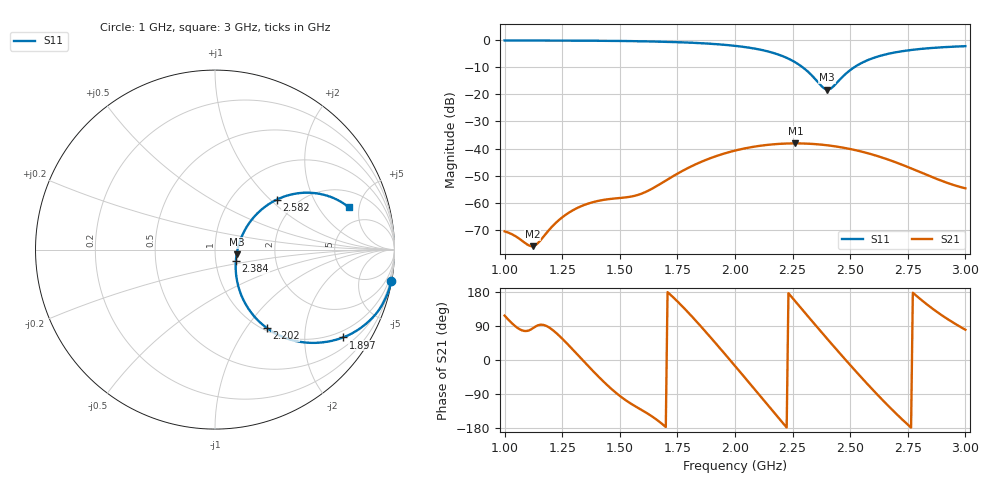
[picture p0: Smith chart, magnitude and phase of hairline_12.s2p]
! TOUCHSTONE file generated by CST MICROWAVE STUDIO
! Date and time: Tue Mar 18 20:31:40 2025
! Project name: hairline.cst
! Parameters = {B=12.5; D=160; F=25; Feed=2.85625; Fracture=2; L=100; M=50; R=0.384908; S=1.5; Theta=0; length=57.125; wave=114.25}
! Header version: 2024
! Port assignment regex: !\s*Touchstone port\s*([0-9]+)\s*=\s*(CST MWS port|CST DES external port|CST DES block port)\s*(.+)\s* \(\"(.*)\"\)(\s*mode\s*([0-9]+))?.*
! Touchstone port assignment:
! Touchstone port 1 = CST MWS port 1 ("")
! Touchstone port 2 = CST MWS port 2 ("")
# GHz S DB R 50
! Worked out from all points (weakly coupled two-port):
!   264 points, 1 GHz to 3 GHz, reference 50 ohm
!   highest |S21| = -38.10 dB at 2.262 GHz (marker M1); lowest = -76.1 dB at 1.122 GHz (marker M2)
!   lowest |S11| = -18.2 dB at 2.399 GHz (marker M3), VSWR 1.28, Z = 63.6 - j3.48 ohm
!   |S11| at or under -10 dB: 2.295 GHz to 2.516 GHz (221.8 MHz wide, 9.22 % of centre)
!   S12 and S22 are empty: the file has one direction only
!   S11 on the Smith chart (normalised r, x): 1 GHz: 0, -11; 1.897 GHz: 0.78, -3.04; 2.202 GHz: 1.04, -1.25; 2.384 GHz: 1.25, -0.16; 2.582 GHz: 1.58, +1.09; 3 GHz: 3.24, +3.93
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1  -0.02 -10.0  -70.65 117.2  -200.00 0.0  -200.00 0.0
1.12167  -0.03 -11.7  -76.14 83.5  -200.00 0.0  -200.00 0.0
1.14449  -0.04 -12.1  -75.01 91.5  -200.00 0.0  -200.00 0.0
1.24335  -0.06 -13.8  -65.93 60.4  -200.00 0.0  -200.00 0.0
1.3346  -0.09 -15.5  -61.27 2.4  -200.00 0.0  -200.00 0.0
1.41825  -0.14 -17.3  -59.17 -50.4  -200.00 0.0  -200.00 0.0
1.57034  -0.29 -21.4  -57.37 -123.3  -200.00 0.0  -200.00 0.0
1.6692  -0.46 -24.6  -53.44 -161.7  -200.00 0.0  -200.00 0.0
1.89734  -1.26 -34.5  -43.45 57.4  -200.00 0.0  -200.00 0.0
2.0038  -2.05 -40.9  -40.69 -18.4  -200.00 0.0  -200.00 0.0
2.11027  -3.44 -48.9  -38.97 -95.5  -200.00 0.0  -200.00 0.0
2.20152  -5.65 -56.6  -38.24 -161.7  -200.00 0.0  -200.00 0.0
2.26236  -8.14 -60.3  -38.10 154.3  -200.00 0.0  -200.00 0.0
2.3384  -13.41 -54.9  -38.32 99.7  -200.00 0.0  -200.00 0.0
2.38403  -17.56 -28.7  -38.65 67.3  -200.00 0.0  -200.00 0.0
2.39924  -18.18 -12.6  -38.79 56.6  -200.00 0.0  -200.00 0.0
2.42205  -17.40 11.3  -39.04 40.6  -200.00 0.0  -200.00 0.0
2.5057  -10.63 40.2  -40.29 -17.2  -200.00 0.0  -200.00 0.0
2.58175  -7.10 39.0  -41.87 -68.0  -200.00 0.0  -200.00 0.0
2.673  -4.81 33.3  -44.34 -125.8  -200.00 0.0  -200.00 0.0
2.8251  -3.00 24.5  -49.49 150.5  -200.00 0.0  -200.00 0.0
3  -2.13 17.5  -54.73 79.9  -200.00 0.0  -200.00 0.0
